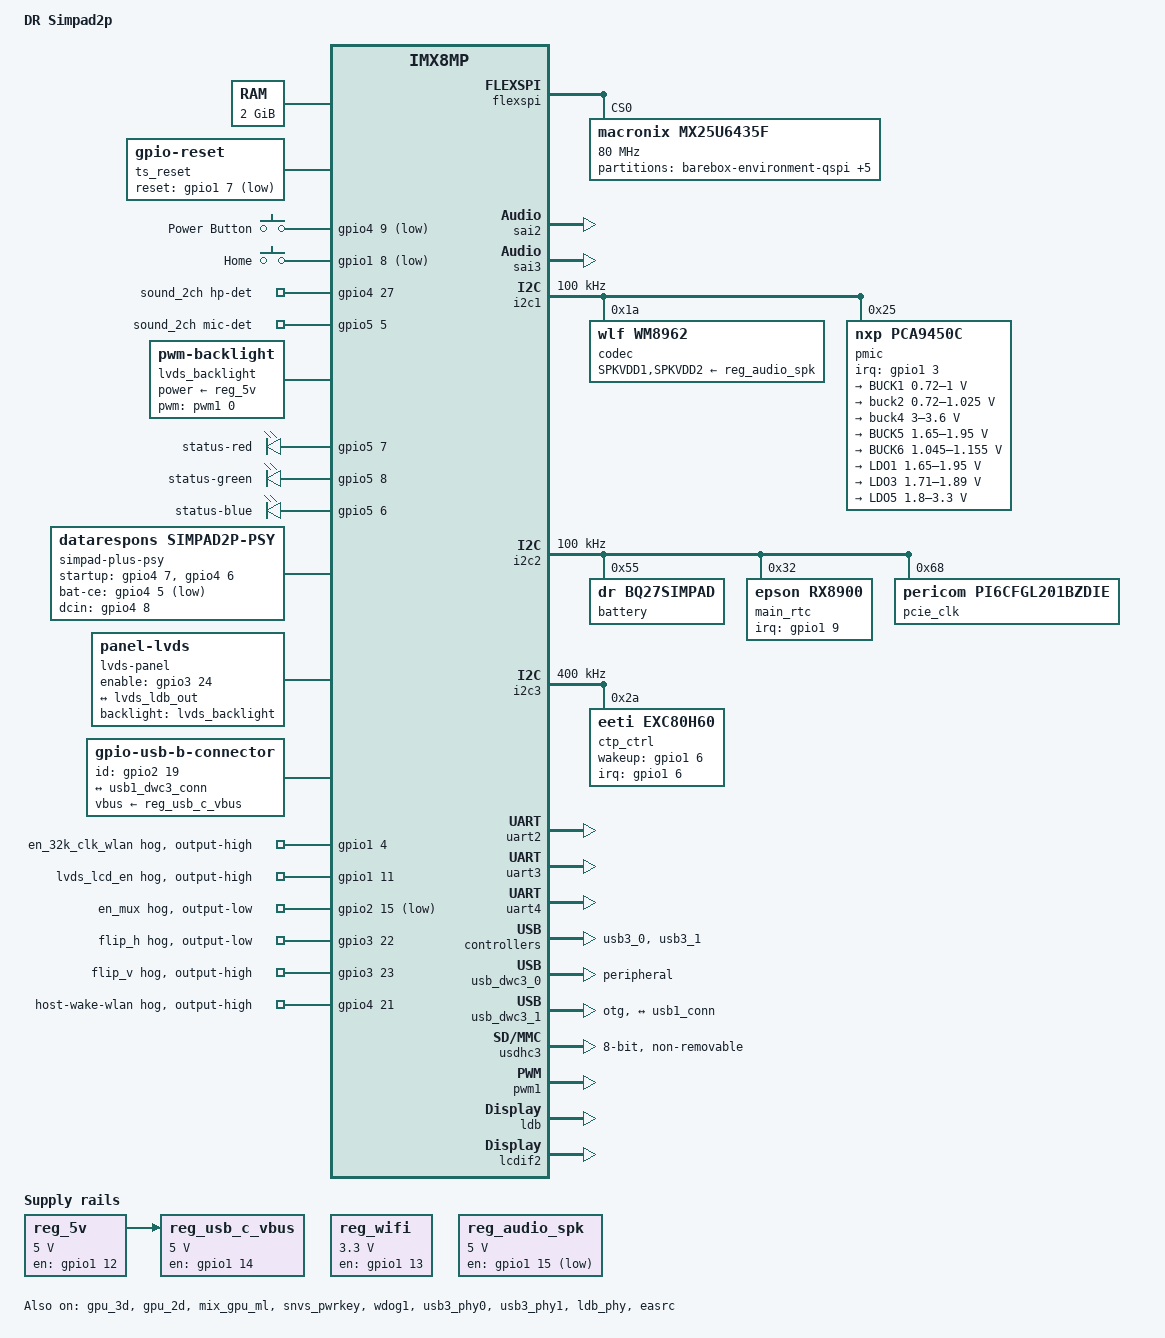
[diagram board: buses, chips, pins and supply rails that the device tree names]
/*
 * Copyright DATA RESPONS AS
 *
 * The code contained herein is licensed under the GNU General Public
 * License. You may obtain a copy of the GNU General Public License
 * Version 2 or later at the following locations:
 *
 * http://www.opensource.org/licenses/gpl-license.html
 * http://www.gnu.org/copyleft/gpl.html
 */
/dts-v1/;

#include <dt-bindings/input/input.h>
#include <dt-bindings/gpio/gpio.h>
#include <dt-bindings/usb/pd.h>
#include "imx8mp.dtsi"

/ {
	model = "DR Simpad2p";
	compatible = "datarespons,simpad2p", "fsl,imx8mp";

	aliases {
		mmc0 = &usdhc3;
		ethernet0 = &eqos;
		btserial = "ttymxc2";
		rtc0 = &main_rtc;
		rtc1 = &snvs_rtc;
	};

	chosen {
		stdout-path = &uart2;
	};

	memory@40000000 {
		device_type = "memory";
		reg = <0x0 0x40000000 0 0x80000000>; 	/* 2 GB DDR */
	};


   clocks {
		wlan_clk: clock@1 {
			#clock-cells = <0>;
			compatible = "fixed-clock";
			clock-output-names = "slp-clk";
			clock-frequency = <32768>;
		};
	};

	ts_reset: gpio-reset {
		compatible = "gpio-reset";
		reset-gpios = <&gpio1 7 GPIO_ACTIVE_LOW>;
		reset-delay-us = <1000>;
		reset-post-delay-ms = <2>;
		#reset-cells = <0>;
	};

	regulators {
		compatible = "simple-bus";

		reg_5v: ext_5v {
			compatible = "regulator-fixed";
			regulator-name = "reg-5V";
			regulator-min-microvolt = <5000000>;
			regulator-max-microvolt = <5000000>;
			gpio = <&gpio1 12 0>; /* EN_VCC5-boost */
			enable-active-high;
		};

		reg_wifi: wifi_pwr {
			compatible = "regulator-fixed";
			regulator-name = "reg_wifi";
			regulator-min-microvolt = <3300000>;
			regulator-max-microvolt = <3300000>;
			gpio = <&gpio1 13 0>; /* PMIC_EN-WLAN */
			enable-active-high;
			regulator-always-on;
		};

		reg_usb_c_vbus: usb_c_vbus {
			compatible = "regulator-fixed";
			regulator-name = "reg_usb_c_vbus";
			regulator-min-microvolt = <5000000>;
			regulator-max-microvolt = <5000000>;
			gpio = <&gpio1 14 GPIO_ACTIVE_HIGH>; /* EN-USBC_Vbus_5V */
			enable-active-high;
			vin-supply = <&reg_5v>;
			status = "okay";
		};

		reg_audio_spk: en_spk_pwr {
			compatible = "regulator-fixed";
			regulator-name = "reg_audio_spk";
			regulator-min-microvolt = <5000000>;
			regulator-max-microvolt = <5000000>;
			gpio = <&gpio1 15 GPIO_ACTIVE_LOW>; /* nEN_SPKPWR */
			enable-active-low;
		};
	};

	gpio-keys {
		compatible = "gpio-keys";
		power {
			label = "Power Button";
			gpios = <&gpio4 9 GPIO_ACTIVE_LOW>;
			linux,code = <KEY_POWER>; /* KEY_POWER */
			gpio-key,wakeup;
		};

		key-function {
			label = "Home";
			gpios = <&gpio1 8 GPIO_ACTIVE_LOW>; /* key_nFunction */
			linux,code = <KEY_F12>;
		};

	};

	bt_sco_codec: bt_sco_codec {
		#sound-dai-cells = <1>;
		compatible = "linux,bt-sco";
		status = "disabled";
	};

/*
	sound-bt-sco {
		compatible = "simple-audio-card";
		simple-audio-card,name = "bt-sco-audio";
		simple-audio-card,format = "dsp_a";
		simple-audio-card,bitclock-inversion;
		simple-audio-card,frame-master = <&btcpu>;
		simple-audio-card,bitclock-master = <&btcpu>;

		btcpu: simple-audio-card,cpu {
			sound-dai = <&sai2>;
			dai-tdm-slot-num = <2>;
			dai-tdm-slot-width = <16>;
		};

		simple-audio-card,codec {
			sound-dai = <&bt_sco_codec 1>;
		};
	};
*/
	sound_2ch {
		compatible = "fsl,lm-imx-audio-wm8962";
		model = "wm8962-audio";
		audio-cpu = <&sai3>;
		audio-codec = <&codec>;
		audio-asrc = <&easrc>;
		hp-det-gpios = <&gpio4 27 GPIO_ACTIVE_HIGH>;
		mic-det-gpios = <&gpio5 5 GPIO_ACTIVE_HIGH>;
		iphone-jack;
		speaker-auto-switch;
		audio-routing =
			"Headphone Jack", "HPOUTL",
			"Headphone Jack", "HPOUTR",
			"Ext Spk", "SPKOUTL",
			"Ext Spk", "SPKOUTR",
			"AMIC", "MICBIAS",
			"IN3R", "AMIC";
	};

	lvds_backlight: backlight  {
		compatible = "pwm-backlight";
		pwms = <&pwm1 0 100000>;
		brightness-levels = < 0 1 2 3 4 5 6 8  11 16  23  32 48
							  64 81 100 121 144 169 196 225
							  256 289 324 361 400 441 484 529
							  576 625 676 729 784 841 900 961
							  1024 1089 1156 1225 1296 1369 1444 1521
							  1600 1681 1764 1849 1936 2025 2116 2209 >;
		default-brightness-level = <32>;
		power-supply = <&reg_5v>;
		status = "okay";
	};


	leds {
		compatible = "gpio-leds";
		pinctrl-names = "default";
		status-red {
			gpios = <&gpio5 7 GPIO_ACTIVE_HIGH>;
			default-state = "off";
		};

		status-green {
			gpios = <&gpio5 8 GPIO_ACTIVE_HIGH>;
			default-state = "on";
			linux,default-trigger = "timer";
		};

		status-blue {
			gpios = <&gpio5 6 GPIO_ACTIVE_HIGH>;
			default-state = "off";
		};
	};

	simpad-plus-psy {
		status = "okay";
		compatible = "datarespons,simpad2p-psy";
		startup-gpios = <&gpio4 7 GPIO_ACTIVE_HIGH &gpio4 6 GPIO_ACTIVE_HIGH>;
		bat-ce-gpios = <&gpio4 5 GPIO_ACTIVE_LOW>;
		dcin-gpio = <&gpio4 8 GPIO_ACTIVE_HIGH>;
	};


	lvds-panel {
		compatible = "panel-lvds";
		data-mapping = "jeida-24";
		status = "okay";
		backlight = <&lvds_backlight>;
		enable-gpios = <&gpio3 24 GPIO_ACTIVE_HIGH>;
		width-mm = <152>;
		height-mm = <100>;

		port {
			lvds_panel_in: endpoint {
				remote-endpoint = <&lvds_ldb_out>;
			};
		};
		panel-timing {
			clock-frequency = <24750000>;
			hactive = <640>;
			vactive = <480>;
			hback-porch = <116>;
			hfront-porch = <16>;
			hsync-len = <30>;
			vback-porch = <32>;
			vfront-porch = <10>;
			vsync-len = <3>;
			de-active = <1>;
			hsync-active = <1>;
			vsync-active = <1>;
			pixelclk-active = <0>;
		};
	};

	connector {
		compatible = "gpio-usb-b-connector", "usb-b-connector";
		vbus-supply = <&reg_usb_c_vbus>;
		type = "micro";
		id-gpios = <&gpio2 19 GPIO_ACTIVE_HIGH>;
		status = "okay";

		port {
			usb1_conn: endpoint {
				remote-endpoint = <&usb1_dwc3_conn>;
			};
		};
	};
};

&A53_0 {
	cpu-supply = <&buck2>;
};

&A53_1 {
	cpu-supply = <&buck2>;
};

&A53_2 {
	cpu-supply = <&buck2>;
};

&A53_3 {
	cpu-supply = <&buck2>;
};

&gpu_3d {
	status = "okay";
};

&gpu_2d {
	status = "okay";
};

&mix_gpu_ml {
	status = "okay";
};

&snvs_pwrkey {
	status = "okay";
};

&gpio1 {
	gpio-line-names = "", "", "", "", "", "", "", "",
						"", "", "", "", "", "pmic-enable-wlan", "", "";

	en_32k_clk_wlan {
		gpio-hog;
		gpios = <4 GPIO_ACTIVE_HIGH>;
		output-high;
	};

	lvds_lcd_en {
		gpio-hog;
		gpios = <11 GPIO_ACTIVE_HIGH>;
		output-high;
	};
};

&gpio2 {
	en_mux {
		gpio-hog;
		gpios = <15 GPIO_ACTIVE_LOW>;
		output-low;
	};
};

&gpio3 {
	gpio-line-names = "", "", "", "", "", "", "", "",
						"spinor-wp", "", "", "", "", "", "", "";
	flip_h {
		gpio-hog;
		gpios = <22 GPIO_ACTIVE_HIGH>;
		output-low;
	};

	flip_v {
		gpio-hog;
		gpios = <23 GPIO_ACTIVE_HIGH>;
		output-high;
	};
};

&gpio4 {
	gpio-line-names = "", "", "", "", "", "", "", "",
						"", "", "", "", "", "", "", "",
						"", "hwrev0", "hwrev1", "hwrev2", "", "host-wake-wlan", "wlan-wake-host", "",
						"", "", "", "", "", "", "", "";

	host-wake-wlan {
		gpio-hog;
		gpios = <21 GPIO_ACTIVE_HIGH>;
		output-high;
	};
};

&gpio5 {
	gpio-line-names = "", "", "", "bt-wake-host", "host-wake-bt", "", "", "",
						"", "", "", "", "", "", "", "",
						"", "", "", "", "pcie-clkreqn", "", "", "";
};


&eqos {
	pinctrl-names = "default";
	pinctrl-0 = <&pinctrl_eqos>;
	phy-mode = "rgmii-id";
	phy-handle = <&ethphy0>;
	reset-gpios = <&gpio4 1 GPIO_ACTIVE_LOW>; /* ETHPHY_nRST */
	snps,force_thresh_dma_mode;
	snps,mtl-tx-config = <&mtl_tx_setup>;
	snps,mtl-rx-config = <&mtl_rx_setup>;
	status = "disabled";

	mdio {
		compatible = "snps,dwmac-mdio";
		#address-cells = <1>;
		#size-cells = <0>;

		ethphy0: ethernet-phy@0 {
			compatible = "ethernet-phy-ieee802.3-c22";
			reg = <0>;
			eee-broken-1000t;
			rtl821x,aldps-disable;
			rtl821x,clkout-disable;
		};
	};

	mtl_tx_setup: tx-queues-config {
		snps,tx-queues-to-use = <5>;
		snps,tx-sched-sp;

		queue0 {
			snps,dcb-algorithm;
			snps,priority = <0x1>;
		};

		queue1 {
			snps,dcb-algorithm;
			snps,priority = <0x2>;
		};

		queue2 {
			snps,dcb-algorithm;
			snps,priority = <0x4>;
		};

		queue3 {
			snps,dcb-algorithm;
			snps,priority = <0x8>;
		};

		queue4 {
			snps,dcb-algorithm;
			snps,priority = <0xf0>;
		};
	};

	mtl_rx_setup: rx-queues-config {
		snps,rx-queues-to-use = <5>;
		snps,rx-sched-sp;

		queue0 {
			snps,dcb-algorithm;
			snps,priority = <0x1>;
			snps,map-to-dma-channel = <0>;
		};

		queue1 {
			snps,dcb-algorithm;
			snps,priority = <0x2>;
			snps,map-to-dma-channel = <1>;
		};

		queue2 {
			snps,dcb-algorithm;
			snps,priority = <0x4>;
			snps,map-to-dma-channel = <2>;
		};

		queue3 {
			snps,dcb-algorithm;
			snps,priority = <0x8>;
			snps,map-to-dma-channel = <3>;
		};

		queue4 {
			snps,dcb-algorithm;
			snps,priority = <0xf0>;
			snps,map-to-dma-channel = <4>;
		};
	};
};

&flexspi {
	pinctrl-names = "default";
	pinctrl-0 = <&pinctrl_flexspi0>;
	status = "okay";

	mx25u6435f: flash@0 { /* MX25U6432FM2I02 (64 Mbit) */
		reg = <0>;
		#address-cells = <1>;
		#size-cells = <1>;
		compatible = "macronix,mx25u6435f", "jedec,spi-nor";
		spi-max-frequency = <80000000>;
		spi-tx-bus-width = <1>;
		spi-rx-bus-width = <4>;
		spi-nor,ddr-quad-read-dummy = <6>;

	};
};

&mx25u6435f {
	partitions {
		compatible = "fixed-partitions";
		#address-cells = <1>;
		#size-cells = <1>;

		partition@0 {
			label = "barebox-environment-qspi";
			reg = <0x0 0x40000>;
		};

		backend_state_qspi: state@40000 {
			label = "barebox-state";
			reg = <0x40000 0xc0000>;
		};

		partition@100000 {
			label = "system_a";
			reg = <0x100000 0x40000>;
		};
		partition@140000 {
			label = "system_b";
			reg = <0x140000 0x40000>;
		};

		partition@180000 {
			label = "user_a";
			reg = <0x180000 0x40000>;
		};
		partition@1c0000 {
			label = "user_b";
			reg = <0x1c0000 0x40000>;
		};
	};
};

&sai2 {
	#sound-dai-cells = <0>;
	pinctrl-names = "default";
	pinctrl-0 = <&pinctrl_sai2>;
	assigned-clocks = <&clk IMX8MP_CLK_SAI2>;
	assigned-clock-parents = <&clk IMX8MP_AUDIO_PLL1_OUT>;
	assigned-clock-rates = <12288000>;
	status = "okay";
};

&sai3 {
	pinctrl-names = "default";
	pinctrl-0 = <&pinctrl_sai3>;
	assigned-clocks = <&clk IMX8MP_CLK_SAI3>;
	assigned-clock-parents = <&clk IMX8MP_AUDIO_PLL1_OUT>;
	assigned-clock-rates = <12288000>;
	clocks = <&audio_blk_ctrl IMX8MP_CLK_AUDIO_BLK_CTRL_SAI3_IPG>, <&clk IMX8MP_CLK_DUMMY>,
		 <&audio_blk_ctrl IMX8MP_CLK_AUDIO_BLK_CTRL_SAI3_MCLK1>, <&clk IMX8MP_CLK_DUMMY>,
		 <&clk IMX8MP_CLK_DUMMY>;
	clock-names = "bus", "mclk0", "mclk1", "mclk2", "mclk3";
	fsl,sai-mclk-direction-output;
	status = "okay";
};

&sdma2 {
	status = "okay";
};

&i2c1 { /* PMIC PCA9450CHNY, Audio codec WM8962B */
	clock-frequency = <100000>;
	pinctrl-names = "default";
	pinctrl-0 = <&pinctrl_i2c1>;
	status = "okay";

	codec: wm8962@1a {
		compatible = "wlf,wm8962";
		reg = <0x1a>;
		clocks = <&audio_blk_ctrl IMX8MP_CLK_AUDIO_BLK_CTRL_SAI3_MCLK1>;
		clock-names = "mclk";
		SPKVDD1-supply = <&reg_audio_spk>;
		SPKVDD2-supply = <&reg_audio_spk>;
	   };

	pmic: pca9450@25 {
		compatible = "nxp,pca9450c";
		reg = <0x25>;
		pinctrl-names = "default";
		pinctrl-0 = <&pinctrl_pmic>;
		interrupt-parent = <&gpio1>;
		interrupts = <3 IRQ_TYPE_LEVEL_LOW>;

		regulators {
			BUCK1 {
				regulator-name = "BUCK1";
				regulator-min-microvolt = <720000>;
				regulator-max-microvolt = <1000000>;
				regulator-boot-on;
				regulator-always-on;
				regulator-ramp-delay = <3125>;
			};

			buck2: BUCK2 {
				regulator-name = "BUCK2";
				regulator-min-microvolt = <720000>;
				regulator-max-microvolt = <1025000>;
				regulator-boot-on;
				regulator-always-on;
				regulator-ramp-delay = <3125>;
				nxp,dvs-run-voltage = <950000>;
				nxp,dvs-standby-voltage = <850000>;
			};

			buck4: BUCK4 {
				regulator-name = "BUCK4";
				regulator-min-microvolt = <3000000>;
				regulator-max-microvolt = <3600000>;
				regulator-boot-on;
				regulator-always-on;
			};

			BUCK5 {
				regulator-name = "BUCK5";
				regulator-min-microvolt = <1650000>;
				regulator-max-microvolt = <1950000>;
				regulator-boot-on;
				regulator-always-on;
			};

			BUCK6 {
				regulator-name = "BUCK6";
				regulator-min-microvolt = <1045000>;
				regulator-max-microvolt = <1155000>;
				regulator-boot-on;
				regulator-always-on;
			};

			LDO1 {
				regulator-name = "LDO1";
				regulator-min-microvolt = <1650000>;
				regulator-max-microvolt = <1950000>;
				regulator-boot-on;
				regulator-always-on;
			};

			LDO3 {
				regulator-name = "LDO3";
				regulator-min-microvolt = <1710000>;
				regulator-max-microvolt = <1890000>;
				regulator-boot-on;
				regulator-always-on;
			};

			LDO5 {
				regulator-name = "LDO5";
				regulator-min-microvolt = <1800000>;
				regulator-max-microvolt = <3300000>;
				regulator-boot-on;
				regulator-always-on;
			};
		};
	};
};

&i2c2 { /* RTC X1B000271A00400/rx8900, PCIE_CLK PI6CFGL201BZDIE, MBATT BQ27541-G1 BQ28Z610 */
	clock-frequency = <100000>;
	pinctrl-names = "default";
	pinctrl-0 = <&pinctrl_i2c2>;
	status = "okay";
	battery: bq27541-battery@55 {
		compatible = "dr,bq27simpad";
		reg = <0x55>;
	};

	main_rtc: rtc-rx8900@32 {
		compatible = "epson,rx8900";
		reg = <0x32>;
		interrupt-parent = <&gpio1>;
		interrupts = <9 IRQ_TYPE_LEVEL_LOW>;
	};

	pcie_clk: pi6cfgl201bzdie@68 {
		compatible = "pericom,pi6cfgl201bzdie";
		reg = <0x68>;
	};
};

&i2c3 { /* CTP EXC80H32 , CTP EXC80H32	see exc3000.c, egalax_ts.c	and eeti_ts */
	clock-frequency = <400000>;
	pinctrl-names = "default";
	pinctrl-0 = <&pinctrl_i2c3>;
	status = "okay";

/* First proto touch */
	egalax_ts@4 {
		compatible = "eeti,egalax_ts";
		status = "disabled";
		reg = <0x4>;
		interrupt-parent = <&gpio1>;
		interrupts = <6 2>;
		wakeup-gpios = <&gpio1 6 0>;
		disable-suspend = <1>;
		resets = <&ts_reset>;
		};

	ctp_ctrl: ctp-exc80h32@2a {
		status = "okay";
		compatible = "eeti,exc80h60";
		reg = <0x2a>;
		interrupt-parent = <&gpio1>;
		interrupts = <6 IRQ_TYPE_LEVEL_LOW>;
		wakeup-gpios = <&gpio1 6 0>;
		disable-suspend = <1>;
		resets = <&ts_reset>;
	};
};

&wdog1 {
	pinctrl-names = "default";
	pinctrl-0 = <&pinctrl_wdog>;
	fsl,ext-reset-output;
	status = "okay";
};

/* PAD defs for IMX8MP
BIT8: PULL Enable=1
BIT7: HYS Shmitt=1
BIT6: PUE Down=0, Up=1
BIT5: ODE
BIT4: SLEW Fast=1
BIT2:1 STRENGTH x1,x2,x4,x6
*/

&iomuxc {
	pinctrl-names = "default";
	pinctrl-0 = <&pinctrl_hog>;

	pinctrl_hog: hoggrp {
		fsl,pins = <
			MX8MP_IOMUXC_GPIO1_IO04__GPIO1_IO04			0x142		/* EN_32KO-RTC (WLAN SLP_CLK-WLAN)*/
			MX8MP_IOMUXC_GPIO1_IO06__GPIO1_IO06			0x1c4		/* GP--CTP_nINT (touch interrupt  nINT-CTP, */
			MX8MP_IOMUXC_GPIO1_IO07__GPIO1_IO07			0x1c2		/* Touch reset (low)  nRESET-CTP*/
			MX8MP_IOMUXC_GPIO1_IO08__GPIO1_IO08			0x1c0		/* Function key (active low, pullup)  key_nFunction*/
			MX8MP_IOMUXC_GPIO1_IO09__GPIO1_IO09			0x1c0		/* RTC nIRQ */
			MX8MP_IOMUXC_GPIO1_IO13__GPIO1_IO13			0x002		/* GP--WL_BAT_PWR_EN PMIC_EN-WLAN */
			MX8MP_IOMUXC_GPIO1_IO12__GPIO1_IO12			0x006		/* VCC 5V Boost */
			MX8MP_IOMUXC_GPIO1_IO11__GPIO1_IO11			0x106		/* LVDS Converter PDN_n t */
			MX8MP_IOMUXC_GPIO1_IO15__GPIO1_IO15			0x142		/* nEN_SPKPWR */

			MX8MP_IOMUXC_SAI1_RXD2__GPIO4_IO04			0x002		/* CLR_STATUS , CLR_STATUS-CPUGPO*/
			MX8MP_IOMUXC_SAI1_RXD3__GPIO4_IO05			0x102		/* Charge Eenable */
			MX8MP_IOMUXC_SAI1_RXD4__GPIO4_IO06			0x080		/* START_KEY IO1-4-CPLD, START_KEY-CPUGPI*/
			MX8MP_IOMUXC_SAI1_RXD5__GPIO4_IO07			0x080		/* START_ADAPTER IO1-1-CPLD, START_ADAPTER-CPUGPI*/
			MX8MP_IOMUXC_SAI1_RXD6__GPIO4_IO08			0x080		/* DCIN_VALID from CPLD */
			MX8MP_IOMUXC_SAI1_RXD7__GPIO4_IO09			0x180		/* PPWR_BTN_SNS PWR_BTN_SNS-CPUGPI*/
			MX8MP_IOMUXC_SAI1_TXD5__GPIO4_IO17			0x00		/* HW_Setting_0 */
			MX8MP_IOMUXC_SAI1_TXD6__GPIO4_IO18			0x00		/* HW_Setting_1 */
			MX8MP_IOMUXC_SAI1_TXD7__GPIO4_IO19			0x00		/* HW_Setting_2 */
			MX8MP_IOMUXC_SAI2_MCLK__GPIO4_IO27			0x1c0		/* GP--HP_DET, pullup  HP_DET*/
			MX8MP_IOMUXC_SAI5_RXD1__GPIO3_IO22			0x102		/* LCD flip H,GP--LCD_L/R  LR-LCD*/
			MX8MP_IOMUXC_SAI5_RXD2__GPIO3_IO23			0x142		/* LCD flip V, GP--LCD_U/D	UD-LCD*/
			MX8MP_IOMUXC_SAI5_RXD3__GPIO3_IO24			0x006		/* DISP0_PWR_EN	 EN_PWR-LCD*/

			MX8MP_IOMUXC_SPDIF_EXT_CLK__GPIO5_IO05		0x1c0		/* Mic detect MIC_DET, SPDIF_EXT_CLK???*/
			MX8MP_IOMUXC_SD2_DATA0__GPIO2_IO15			0x104		/* EN-USB3C_MUX */
			MX8MP_IOMUXC_SPDIF_RX__GPIO5_IO04			0x142		/* HOST_WAKEUP_BT, PU */
			MX8MP_IOMUXC_SPDIF_TX__GPIO5_IO03			0x180		/* BT_WAKEUP_HOST, PD */

			MX8MP_IOMUXC_GPIO1_IO14__GPIO1_IO14			0x106 		/* EN-USBC_Vbus_5V */
			MX8MP_IOMUXC_SD2_RESET_B__GPIO2_IO19		0x1c0 		/* OTG_ID */
		>;
	};

	pinctrl_pmic: pmicgrp {
		fsl,pins = <
			MX8MP_IOMUXC_GPIO1_IO03__GPIO1_IO03		0x1c0	/* PMIC_nINT */
		>;
	};

	pinctrl_wifi1: wifi1grp {
		fsl,pins = <
			MX8MP_IOMUXC_SAI2_RXFS__GPIO4_IO21		0x142	/* HOST_WAKEUP_WLAN */
			MX8MP_IOMUXC_SAI2_RXC__GPIO4_IO22		0x1C0	/* WLAN_WAKEUP_HOST */
		>;
	};

	pinctrl_wdog: wdoggrp {
		fsl,pins = <
			MX8MP_IOMUXC_GPIO1_IO02__WDOG1_WDOG_B		  0xc6		 /* WDOG_B */
		>;
	};

	pinctrl_flexspi0: flexspi0grp {
		fsl,pins = <
			MX8MP_IOMUXC_NAND_ALE__FLEXSPI_A_SCLK		0x1c2
			MX8MP_IOMUXC_NAND_CE0_B__FLEXSPI_A_SS0_B	0x82
			MX8MP_IOMUXC_NAND_DATA00__FLEXSPI_A_DATA00	0x82
			MX8MP_IOMUXC_NAND_DATA01__FLEXSPI_A_DATA01	0x82
			MX8MP_IOMUXC_NAND_DATA02__FLEXSPI_A_DATA02	0x82
			MX8MP_IOMUXC_NAND_DATA03__FLEXSPI_A_DATA03	0x82
		>;
	};

	/* UART CPU */
	pinctrl_uart2: uart2grp {
		fsl,pins = <
			MX8MP_IOMUXC_UART2_RXD__UART2_DCE_RX	0x102
			MX8MP_IOMUXC_UART2_TXD__UART2_DCE_TX	0x102
		>;
	};

	/* UART BT */
	pinctrl_uart3: uart3grp {
		fsl,pins = <
			MX8MP_IOMUXC_SD1_DATA6__UART3_DCE_TX		0x112
			MX8MP_IOMUXC_SD1_DATA7__UART3_DCE_RX		0x112
			MX8MP_IOMUXC_SD1_RESET_B__UART3_DCE_RTS		0x112
			MX8MP_IOMUXC_SD1_STROBE__UART3_DCE_CTS		0x112
		>;
	};

	/* UART CoCPU */
	pinctrl_uart4: uart4grp {
		fsl,pins = <
			MX8MP_IOMUXC_UART4_RXD__UART4_DCE_RX	0x102
			MX8MP_IOMUXC_UART4_TXD__UART4_DCE_TX	0x102
		>;
	};

	/* PWM-LCD_BL */
	pinctrl_pwm1: pwm1grp {
		fsl,pins = <
			MX8MP_IOMUXC_GPIO1_IO01__PWM1_OUT		0x002
		>;
	};

	/* nPWN-LVDSTTL */
	pinctrl_pwm2: pwm2grp {
		fsl,pins = <
			MX8MP_IOMUXC_GPIO1_IO11__PWM2_OUT		0x002
		>;
	};

	pinctrl_i2c1: i2c1grp {
		fsl,pins = <
			MX8MP_IOMUXC_I2C1_SCL__I2C1_SCL		 0x400001c2
			MX8MP_IOMUXC_I2C1_SDA__I2C1_SDA		 0x400001c2
		>;
	};

	pinctrl_i2c2: i2c2grp {
		fsl,pins = <
			MX8MP_IOMUXC_I2C2_SCL__I2C2_SCL		 0x400001c2
			MX8MP_IOMUXC_I2C2_SDA__I2C2_SDA		 0x400001c2
		>;
	};

	pinctrl_i2c3: i2c3grp {
		fsl,pins = <
			MX8MP_IOMUXC_I2C3_SCL__I2C3_SCL		0x400000c4
			MX8MP_IOMUXC_I2C3_SDA__I2C3_SDA		0x400000c4
		>;
	};

	pinctrl_usdhc3: usdhc3grp { /* EMMC eMMC16G-TB28-A20 */
		fsl,pins = <
			MX8MP_IOMUXC_NAND_WE_B__USDHC3_CLK		0x192 /*SD3_CLK*/
			MX8MP_IOMUXC_NAND_WP_B__USDHC3_CMD		0x1d2 /*SD3_CMD*/
			MX8MP_IOMUXC_NAND_DATA04__USDHC3_DATA0	0x1d2 /*SD3_DATA0*/
			MX8MP_IOMUXC_NAND_DATA05__USDHC3_DATA1	0x1d2 /*SD3_DATA1*/
			MX8MP_IOMUXC_NAND_DATA06__USDHC3_DATA2	0x1d2 /*SD3_DATA2*/
			MX8MP_IOMUXC_NAND_DATA07__USDHC3_DATA3	0x1d2 /*SD3_DATA3*/
			MX8MP_IOMUXC_NAND_RE_B__USDHC3_DATA4	0x1d2 /*SD3_DATA4*/
			MX8MP_IOMUXC_NAND_CE2_B__USDHC3_DATA5	0x1d2 /*SD3_DATA5*/
			MX8MP_IOMUXC_NAND_CE3_B__USDHC3_DATA6	0x1d2 /*SD3_DATA6*/
			MX8MP_IOMUXC_NAND_CLE__USDHC3_DATA7		0x1d2 /*SD3_DATA7*/
			MX8MP_IOMUXC_NAND_CE1_B__USDHC3_STROBE	0x192 /* SD3_STROBE*/
		>;
	};

	pinctrl_usdhc3_100mhz: usdhc3-100mhzgrp {
		fsl,pins = <
			MX8MP_IOMUXC_NAND_WE_B__USDHC3_CLK		0x194 /*SD3_CLK*/
			MX8MP_IOMUXC_NAND_WP_B__USDHC3_CMD		0x1d4 /*SD3_CMD*/
			MX8MP_IOMUXC_NAND_DATA04__USDHC3_DATA0	0x1d4 /*SD3_DATA0*/
			MX8MP_IOMUXC_NAND_DATA05__USDHC3_DATA1	0x1d4 /*SD3_DATA1*/
			MX8MP_IOMUXC_NAND_DATA06__USDHC3_DATA2	0x1d4 /*SD3_DATA2*/
			MX8MP_IOMUXC_NAND_DATA07__USDHC3_DATA3	0x1d4 /*SD3_DATA3*/
			MX8MP_IOMUXC_NAND_RE_B__USDHC3_DATA4	0x1d4 /*SD3_DATA4*/
			MX8MP_IOMUXC_NAND_CE2_B__USDHC3_DATA5	0x1d4 /*SD3_DATA5*/
			MX8MP_IOMUXC_NAND_CE3_B__USDHC3_DATA6	0x1d4 /*SD3_DATA6*/
			MX8MP_IOMUXC_NAND_CLE__USDHC3_DATA7		0x1d4 /*SD3_DATA7*/
			MX8MP_IOMUXC_NAND_CE1_B__USDHC3_STROBE	0x194 /* SD3_STROBE*/
		>;
	};

	pinctrl_usdhc3_200mhz: usdhc3-200mhzgrp {
		fsl,pins = <
			MX8MP_IOMUXC_NAND_WE_B__USDHC3_CLK		0x196 /*SD3_CLK*/
			MX8MP_IOMUXC_NAND_WP_B__USDHC3_CMD		0x1d6 /*SD3_CMD*/
			MX8MP_IOMUXC_NAND_DATA04__USDHC3_DATA0	0x1d6 /*SD3_DATA0*/
			MX8MP_IOMUXC_NAND_DATA05__USDHC3_DATA1	0x1d6 /*SD3_DATA1*/
			MX8MP_IOMUXC_NAND_DATA06__USDHC3_DATA2	0x1d6 /*SD3_DATA2*/
			MX8MP_IOMUXC_NAND_DATA07__USDHC3_DATA3	0x1d6 /*SD3_DATA3*/
			MX8MP_IOMUXC_NAND_RE_B__USDHC3_DATA4	0x1d6 /*SD3_DATA4*/
			MX8MP_IOMUXC_NAND_CE2_B__USDHC3_DATA5	0x1d6 /*SD3_DATA5*/
			MX8MP_IOMUXC_NAND_CE3_B__USDHC3_DATA6	0x1d6 /*SD3_DATA6*/
			MX8MP_IOMUXC_NAND_CLE__USDHC3_DATA7		0x1d6 /*SD3_DATA7*/
			MX8MP_IOMUXC_NAND_CE1_B__USDHC3_STROBE	0x196 /* SD3_STROBE*/
		>;
	};

	pinctrl_sai2: sai2grp {
		fsl,pins = <
			MX8MP_IOMUXC_SAI2_RXD0__AUDIOMIX_SAI2_RX_DATA00		0xd6 /*SAI2_RXD0 - BT_PCM_DIN*/
			MX8MP_IOMUXC_SAI2_TXC__AUDIOMIX_SAI2_TX_BCLK		0xd6 /*SAI2_TXC - BT_PCM_CLK*/
			MX8MP_IOMUXC_SAI2_TXD0__AUDIOMIX_SAI2_TX_DATA00		0xd6 /*SAI2_TXD0 - BT_PCM_SDOUT*/
			MX8MP_IOMUXC_SAI2_TXFS__AUDIOMIX_SAI2_TX_SYNC		0xd6 /*SAI2_TXFS - BT_PCM_SYNC*/
		>;
	};

	pinctrl_sai3: sai3grp {
		fsl,pins = <
			MX8MP_IOMUXC_SAI3_RXD__AUDIOMIX_SAI3_RX_DATA00		0xd6 /*-Audio_a - SAI3_RXD*/
			MX8MP_IOMUXC_SAI3_TXC__AUDIOMIX_SAI3_TX_BCLK		0xd6 /*I2S_BCLK-Audio_a - SAI3_TXC*/
			MX8MP_IOMUXC_SAI3_TXD__AUDIOMIX_SAI3_TX_DATA00		0xd6 /*I2S_DACDAT-Audio_a - SAI3_TXD*/
			MX8MP_IOMUXC_SAI3_TXFS__AUDIOMIX_SAI3_TX_SYNC		0xd6 /*I2S_LRCLK-Audio_a - SAI3_TXFS*/
			MX8MP_IOMUXC_SAI3_MCLK__AUDIOMIX_SAI3_MCLK			0xd6 /*I2S_MCLKF-Audio_a - SAI3_MCLK*/
			MX8MP_IOMUXC_SAI3_RXFS__AUDIOMIX_SAI3_RX_SYNC		0xd6 /*SAI3_RXFS*/
		>;
	};

	pinctrl_eqos: eqosgrp {
		fsl,pins = <
			MX8MP_IOMUXC_ENET_MDC__ENET_QOS_MDC				0x3
			MX8MP_IOMUXC_ENET_MDIO__ENET_QOS_MDIO			0x3
			MX8MP_IOMUXC_ENET_TD3__ENET_QOS_RGMII_TD3		0x1f
			MX8MP_IOMUXC_ENET_TD2__ENET_QOS_RGMII_TD2		0x1f
			MX8MP_IOMUXC_ENET_TD1__ENET_QOS_RGMII_TD1		0x1f
			MX8MP_IOMUXC_ENET_TD0__ENET_QOS_RGMII_TD0		0x1f
			MX8MP_IOMUXC_ENET_TX_CTL__ENET_QOS_RGMII_TX_CTL 0x1f
			MX8MP_IOMUXC_ENET_TXC__CCM_ENET_QOS_CLOCK_GENERATE_TX_CLK	0x1f
			MX8MP_IOMUXC_ENET_RX_CTL__ENET_QOS_RGMII_RX_CTL 0x91
			MX8MP_IOMUXC_ENET_RXC__CCM_ENET_QOS_CLOCK_GENERATE_RX_CLK			0x91
			MX8MP_IOMUXC_ENET_RD0__ENET_QOS_RGMII_RD0		0x91
			MX8MP_IOMUXC_ENET_RD1__ENET_QOS_RGMII_RD1		0x91
			MX8MP_IOMUXC_ENET_RD2__ENET_QOS_RGMII_RD2		0x91
			MX8MP_IOMUXC_ENET_RD3__ENET_QOS_RGMII_RD3		0x91
			MX8MP_IOMUXC_SAI1_RXC__GPIO4_IO01				0x19 /* Phy reset (low) RGMII--CPU_nRST->ETH_nRST  ETHPHY_nRST */
			MX8MP_IOMUXC_SAI1_RXFS__GPIO4_IO00				0x19 /* Phy IRQ GP--ETH_INT->ETH_INT nINT_ENET_A->ETH_INT */

		>;
	};

	pinctrl_pcie0: pcie0grp {
		fsl,pins = <
			MX8MP_IOMUXC_SD1_DATA5__GPIO2_IO07			0x1c4	   	/* PCIE_PERST */
			MX8MP_IOMUXC_SD1_DATA4__GPIO2_IO06			0x1c4	   	/* W_DISABLE */
			MX8MP_IOMUXC_I2C4_SDA__GPIO5_IO21			0x1c0 		/* PCIE_WAKE_N */
			MX8MP_IOMUXC_I2C4_SCL__GPIO5_IO20			0x1c0 		/* PCIE_CLKREQ_N */
		>;
	};

	pinctrl_typec_mux: typec1muxgrp {
		fsl,pins = <
			MX8MP_IOMUXC_SD2_DATA0__GPIO2_IO15	0x122	/* Tied with DIR-TypeC_CC */
		>;
	};

	pinctrl_gpio_led: gpioledgrp {
		fsl,pins = <
			MX8MP_IOMUXC_ECSPI1_MOSI__GPIO5_IO07	0x002 /* LED_R_Status--CPU */
			MX8MP_IOMUXC_ECSPI1_MISO__GPIO5_IO08	0x002 /* LED_G_Status--CPU */
			MX8MP_IOMUXC_ECSPI1_SCLK__GPIO5_IO06	0x002 /* LED_B_Status--CPU */
		>;
	};
};

&uart2 {
	pinctrl-names = "default";
	pinctrl-0 = <&pinctrl_uart2>;
	status = "okay";
};

&uart3 {
	pinctrl-names = "default";
	pinctrl-0 = <&pinctrl_uart3>;
	fsl,uart-has-rtscts;
	status = "okay";

/*
	bluetooth {
		compatible = "mrvl,88w8897";
		clocks = <&bt_clk 0>;
		clock-names = "lpo";
		max-speed = <921600>;
		device-wakeup-gpios = <&gpio5 3 GPIO_ACTIVE_HIGH>;
		host-wakeup-gpios = <&gpio5 4 GPIO_ACTIVE_HIGH>;
		pinctrl-names = "default";
		pinctrl-0 = <&pinctrl_bt1>;
		vbat-supply = <&reg_wifi>;
	};
*/
};

&uart4 {
	pinctrl-names = "default";
	pinctrl-0 = <&pinctrl_uart4>;
	status = "okay";
};

/* USB-OTG */
&usb3_phy0 {
	status = "okay";

};

&usb3_0 {
	status = "okay";
};

&usb_dwc3_0 {
	dr_mode = "peripheral";
	status = "okay";
};

/* USB-C */
&usb3_phy1 {
	fsl,phy-tx-vref-tune = <0xe>;
	fsl,phy-tx-preemp-amp-tune = <3>;
	fsl,phy-tx-vboost-level = <5>;
	fsl,phy-comp-dis-tune = <7>;
	fsl,pcs-tx-deemph-3p5db = <0x21>;
	fsl,phy-pcs-tx-swing-full = <0x7f>;
	status = "okay";

};

&usb3_1 {
	status = "okay";
};

&usb_dwc3_1 {
	dr_mode = "otg";
	hnp-disable;
	srp-disable;
	adp-disable;
	usb-role-switch;
	role-switch-default-mode = "none";
	snps,dis-u1-entry-quirk;
	snps,dis-u2-entry-quirk;
	status = "okay";

	port {
		usb1_dwc3_conn: endpoint {
			remote-endpoint = <&usb1_conn>;
		};
	};
};

&usdhc3 {
	assigned-clocks = <&clk IMX8MP_CLK_USDHC3>;
	assigned-clock-rates = <400000000>;
	pinctrl-names = "default", "state_100mhz", "state_200mhz";
	pinctrl-0 = <&pinctrl_usdhc3>;
	pinctrl-1 = <&pinctrl_usdhc3_100mhz>;
	pinctrl-2 = <&pinctrl_usdhc3_200mhz>;
	bus-width = <8>;
	non-removable;
	status = "okay";
};

&usdhc3 {
	partitions {
		compatible = "fixed-partitions";
		#size-cells = <1>;
		#address-cells = <1>;

		partition@0 {
			label = "barebox";
			reg = <0x0 0xe0000>;
		};

		partition@e0000 {
			label = "barebox-environment";
			reg = <0xe0000 0x20000>;
		};

		backend_state_usdhc: partition@100000 {
			reg = <0x100000 0x100000>;
			label = "state-emmc";
		};
	};
};

&pwm1 {
	pinctrl-names = "default";
	pinctrl-0 = <&pinctrl_pwm1>;
	status = "okay";
};

&pwm2 {
	pinctrl-names = "default";
	pinctrl-0 = <&pinctrl_pwm2>;
	status = "disabled";
};

&ldb {
	status = "okay";

	lvds-channel@0 {
		status = "okay";

		port@1 {
			reg = <1>;
			lvds_ldb_out: endpoint {
				remote-endpoint = <&lvds_panel_in>;
			};
		};
	};
};

&ldb_phy {
	status = "okay";
};

&lcdif2 {
	status = "okay";
};

&pcie {
	pinctrl-names = "default";
	pinctrl-0 = <&pinctrl_pcie0 &pinctrl_wifi1>;
	disable-gpio = <&gpio2 6 GPIO_ACTIVE_LOW>;
	reset-gpio = <&gpio2 7 GPIO_ACTIVE_LOW>;
	wake-gpio = <&gpio5 21 GPIO_ACTIVE_LOW>;
	ext_osc = <1>;
	/*clkreq-gpio = <&gpio5 20 GPIO_ACTIVE_LOW>; */
	clocks = <&clk IMX8MP_CLK_HSIO_ROOT>,
		 <&clk IMX8MP_CLK_PCIE_AUX>,
		 <&clk IMX8MP_CLK_HSIO_AXI>,
		 <&clk IMX8MP_CLK_PCIE_ROOT>;
	clock-names = "pcie", "pcie_aux", "pcie_phy", "pcie_bus";
	assigned-clocks = <&clk IMX8MP_CLK_HSIO_AXI>,
			  <&clk IMX8MP_CLK_PCIE_AUX>;
	assigned-clock-rates = <500000000>, <10000000>;
	assigned-clock-parents = <&clk IMX8MP_SYS_PLL2_500M>,
				 <&clk IMX8MP_SYS_PLL2_50M>;
	l1ss-disabled;
	status = "disabled";

	wifi_wake_host {
		compatible = "nxp,wifi-wake-host";
		interrupt-parent = <&gpio4>;
		interrupts = <22 IRQ_TYPE_LEVEL_LOW>;
		interrupt-names = "host-wake";
	};
};

&pcie_phy{
	ext_osc = <1>;
	status = "disabled";
};

&easrc {
	fsl,asrc-rate = <48000>;
	status = "okay";
};
